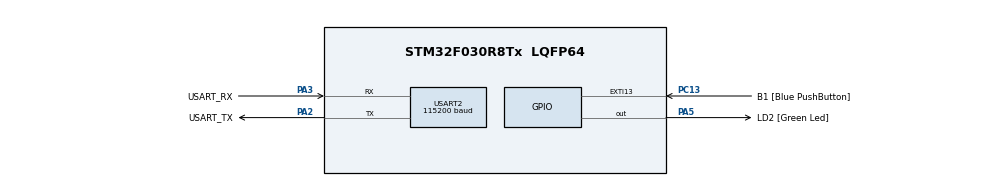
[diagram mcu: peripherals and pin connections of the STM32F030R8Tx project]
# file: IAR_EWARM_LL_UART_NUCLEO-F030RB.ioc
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Mcu.Family=STM32F0
Mcu.Name=STM32F030R8Tx
Mcu.Package=LQFP64
NVIC.USART2_IRQn=true\:0\:0\:false\:false\:true\:true\:true
PA13.GPIO_Label=TMS
PA13.Mode=Serial_Wire
PA13.Signal=SYS_SWDIO
PA14.GPIO_Label=TCK
PA14.Mode=Serial_Wire
PA14.Signal=SYS_SWCLK
PA2.GPIO_Label=USART_TX
PA2.GPIO_Mode=GPIO_MODE_AF_PP
PA2.GPIO_PuPd=GPIO_NOPULL
PA2.GPIO_Speed=GPIO_SPEED_FREQ_LOW
PA2.Mode=Asynchronous
PA2.Signal=USART2_TX
PA3.GPIO_Label=USART_RX
PA3.GPIO_Mode=GPIO_MODE_AF_PP
PA3.GPIO_PuPd=GPIO_NOPULL
PA3.GPIO_Speed=GPIO_SPEED_FREQ_LOW
PA3.Mode=Asynchronous
PA3.Signal=USART2_RX
PA5.GPIO_Label=LD2 [Green Led]
PA5.GPIO_Mode=GPIO_MODE_OUTPUT_PP
PA5.GPIO_PuPd=GPIO_NOPULL
PA5.GPIO_Speed=GPIO_SPEED_FREQ_LOW
PA5.Signal=GPIO_Output
PC13.GPIO_Label=B1 [Blue PushButton]
PC13.GPIO_ModeDefaultEXTI=GPIO_MODE_IT_FALLING
PC13.Signal=GPXTI13
PC14-OSC32_IN.Mode=LSE-External-Oscillator
PC14-OSC32_IN.Signal=RCC_OSC32_IN
PC15-OSC32_OUT.Mode=LSE-External-Oscillator
PC15-OSC32_OUT.Signal=RCC_OSC32_OUT
PF0-OSC_IN.Mode=HSE-External-Clock-Source
PF0-OSC_IN.Signal=RCC_OSC_IN
PF1-OSC_OUT.Signal=RCC_OSC_OUT
ProjectManager.HeapSize=0x200
ProjectManager.StackSize=0x400
ProjectManager.TargetToolchain=EWARM V8.32
RCC.AHBFreq_Value=48000000
RCC.APB1Freq_Value=48000000
RCC.APB1TimFreq_Value=48000000
RCC.HCLKFreq_Value=48000000
RCC.PLLMUL=RCC_PLL_MUL12
RCC.SYSCLKFreq_VALUE=48000000
RCC.SYSCLKSource=RCC_SYSCLKSOURCE_PLLCLK
USART2.BaudRate=115200
USART2.VirtualMode-Asynchronous=VM_ASYNC
board=NUCLEO-F030R8

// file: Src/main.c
/* USER CODE BEGIN Header */
/**
  ******************************************************************************
  * @file           : main.c
  * @brief          : Main program body
  ******************************************************************************
  * @attention
  *
  * <h2><center>&copy; Copyright (c) 2020 STMicroelectronics.
  * All rights reserved.</center></h2>
  *
  * This software component is licensed by ST under BSD 3-Clause license,
  * the "License"; You may not use this file except in compliance with the
  * License. You may obtain a copy of the License at:
  *                        opensource.org/licenses/BSD-3-Clause
  *
  ******************************************************************************
  */
/* USER CODE END Header */

#include "main.h"

/* USER CODE BEGIN Includes */
#include "trice.h"
/* USER CODE END Includes */

void SystemClock_Config(void);
static void MX_GPIO_Init(void);
static void MX_USART2_UART_Init(void);

int main(void)
{
  /* USER CODE BEGIN 1 */
#ifdef ENCRYPT
    InitXteaTable();
#endif
  /* USER CODE END 1 */

  /* MCU Configuration--------------------------------------------------------*/

  /* Reset of all peripherals, Initializes the Flash interface and the Systick. */

  LL_APB1_GRP2_EnableClock(LL_APB1_GRP2_PERIPH_SYSCFG);
  LL_APB1_GRP1_EnableClock(LL_APB1_GRP1_PERIPH_PWR);

  /* System interrupt init*/

  /* Configure the system clock */
  SystemClock_Config();

  /* USER CODE BEGIN SysInit */
    SysTick->CTRL |= SysTick_CTRL_TICKINT_Msk; // enable SysTick interrupt
  /* USER CODE END SysInit */

  /* Initialize all configured peripherals */
  MX_GPIO_Init();
  MX_USART2_UART_Init();
  /* USER CODE BEGIN 2 */
    LL_USART_EnableIT_RXNE(USART2); // enable UART2 interrupt
  /* USER CODE END 2 */

  /* Infinite loop */
  /* USER CODE BEGIN WHILE */
    TRICE16_1( Id(45373), "tim:timing      message, SysTick is %6d\n", SYSTICKVAL16 );
    TRICE0( Id(24517), "att:IAR_EWARM_LL_UART_NUCLEO-F030RB\n" );
    TRICE16_1( Id(45373), "tim:timing      message, SysTick is %6d\n", SYSTICKVAL16 );
    TRICE16_1( Id(45373), "tim:timing      message, SysTick is %6d\n", SYSTICKVAL16 );
    TRICE16_1( Id(45373), "tim:timing      message, SysTick is %6d\n", SYSTICKVAL16 );
    TRICE16_1( Id(45373), "tim:timing      message, SysTick is %6d\n", SYSTICKVAL16 );
    while (1)
    {
      //////////////////////////////////////////////////
      // demo trices
      //
      static uint32_t ms_1 = 0;
      if( ms >= ms_1 + 1000 ){ // every sec
          static int index = 0;
          triceCheckSet(index++%20);
          TRICE32_1( Id(29200), "time:ms = %d\n", ms );
          LL_GPIO_TogglePin(LD2_GPIO_Port, LD2_Pin);
          ms_1 = ms;
      }
      //
      //////////////////////////////////////////////////

      //////////////////////////////////////////////////
      // needed background activity
      //
        #ifdef LL_INTERFACE_NO_INTERRUPTS
        triceServe();
        #endif
      //
      //////////////////////////////////////////////////
    /* USER CODE END WHILE */

  }
}

void SystemClock_Config(void)
{
  LL_FLASH_SetLatency(LL_FLASH_LATENCY_1);

  if(LL_FLASH_GetLatency() != LL_FLASH_LATENCY_1)
  {
  Error_Handler();
  }
  LL_RCC_HSI_Enable();

   /* Wait till HSI is ready */
  while(LL_RCC_HSI_IsReady() != 1)
  {

  }
  LL_RCC_HSI_SetCalibTrimming(16);
  LL_RCC_PLL_ConfigDomain_SYS(LL_RCC_PLLSOURCE_HSI_DIV_2, LL_RCC_PLL_MUL_12);
  LL_RCC_PLL_Enable();

   /* Wait till PLL is ready */
  while(LL_RCC_PLL_IsReady() != 1)
  {

  }
  LL_RCC_SetAHBPrescaler(LL_RCC_SYSCLK_DIV_1);
  LL_RCC_SetAPB1Prescaler(LL_RCC_APB1_DIV_1);
  LL_RCC_SetSysClkSource(LL_RCC_SYS_CLKSOURCE_PLL);

   /* Wait till System clock is ready */
  while(LL_RCC_GetSysClkSource() != LL_RCC_SYS_CLKSOURCE_STATUS_PLL)
  {

  }
  LL_Init1msTick(48000000);
  LL_SetSystemCoreClock(48000000);
}

static void MX_USART2_UART_Init(void)
{

  LL_USART_InitTypeDef USART_InitStruct = {0};

  LL_GPIO_InitTypeDef GPIO_InitStruct = {0};

  /* Peripheral clock enable */
  LL_APB1_GRP1_EnableClock(LL_APB1_GRP1_PERIPH_USART2);

  LL_AHB1_GRP1_EnableClock(LL_AHB1_GRP1_PERIPH_GPIOA);
  /**USART2 GPIO Configuration
  PA2   ------> USART2_TX
  PA3   ------> USART2_RX
  */
  GPIO_InitStruct.Pin = USART_TX_Pin;
  GPIO_InitStruct.Mode = LL_GPIO_MODE_ALTERNATE;
  GPIO_InitStruct.Speed = LL_GPIO_SPEED_FREQ_LOW;
  GPIO_InitStruct.OutputType = LL_GPIO_OUTPUT_PUSHPULL;
  GPIO_InitStruct.Pull = LL_GPIO_PULL_NO;
  GPIO_InitStruct.Alternate = LL_GPIO_AF_1;
  LL_GPIO_Init(USART_TX_GPIO_Port, &GPIO_InitStruct);

  GPIO_InitStruct.Pin = USART_RX_Pin;
  GPIO_InitStruct.Mode = LL_GPIO_MODE_ALTERNATE;
  GPIO_InitStruct.Speed = LL_GPIO_SPEED_FREQ_LOW;
  GPIO_InitStruct.OutputType = LL_GPIO_OUTPUT_PUSHPULL;
  GPIO_InitStruct.Pull = LL_GPIO_PULL_NO;
  GPIO_InitStruct.Alternate = LL_GPIO_AF_1;
  LL_GPIO_Init(USART_RX_GPIO_Port, &GPIO_InitStruct);

  /* USART2 interrupt Init */
  NVIC_SetPriority(USART2_IRQn, 0);
  NVIC_EnableIRQ(USART2_IRQn);

  USART_InitStruct.BaudRate = 115200;
  USART_InitStruct.DataWidth = LL_USART_DATAWIDTH_8B;
  USART_InitStruct.StopBits = LL_USART_STOPBITS_1;
  USART_InitStruct.Parity = LL_USART_PARITY_NONE;
  USART_InitStruct.TransferDirection = LL_USART_DIRECTION_TX_RX;
  USART_InitStruct.HardwareFlowControl = LL_USART_HWCONTROL_NONE;
  USART_InitStruct.OverSampling = LL_USART_OVERSAMPLING_16;
  LL_USART_Init(USART2, &USART_InitStruct);
  LL_USART_DisableIT_CTS(USART2);
  LL_USART_ConfigAsyncMode(USART2);
  LL_USART_Enable(USART2);

}

static void MX_GPIO_Init(void)
{
  LL_EXTI_InitTypeDef EXTI_InitStruct = {0};
  LL_GPIO_InitTypeDef GPIO_InitStruct = {0};

  /* GPIO Ports Clock Enable */
  LL_AHB1_GRP1_EnableClock(LL_AHB1_GRP1_PERIPH_GPIOC);
  LL_AHB1_GRP1_EnableClock(LL_AHB1_GRP1_PERIPH_GPIOF);
  LL_AHB1_GRP1_EnableClock(LL_AHB1_GRP1_PERIPH_GPIOA);

  /**/
  LL_GPIO_ResetOutputPin(LD2_GPIO_Port, LD2_Pin);

  /**/
  LL_SYSCFG_SetEXTISource(LL_SYSCFG_EXTI_PORTC, LL_SYSCFG_EXTI_LINE13);

  /**/
  LL_GPIO_SetPinPull(B1_GPIO_Port, B1_Pin, LL_GPIO_PULL_NO);

  /**/
  LL_GPIO_SetPinMode(B1_GPIO_Port, B1_Pin, LL_GPIO_MODE_INPUT);

  /**/
  EXTI_InitStruct.Line_0_31 = LL_EXTI_LINE_13;
  EXTI_InitStruct.LineCommand = ENABLE;
  EXTI_InitStruct.Mode = LL_EXTI_MODE_IT;
  EXTI_InitStruct.Trigger = LL_EXTI_TRIGGER_FALLING;
  LL_EXTI_Init(&EXTI_InitStruct);

  /**/
  GPIO_InitStruct.Pin = LD2_Pin;
  GPIO_InitStruct.Mode = LL_GPIO_MODE_OUTPUT;
  GPIO_InitStruct.Speed = LL_GPIO_SPEED_FREQ_LOW;
  GPIO_InitStruct.OutputType = LL_GPIO_OUTPUT_PUSHPULL;
  GPIO_InitStruct.Pull = LL_GPIO_PULL_NO;
  LL_GPIO_Init(LD2_GPIO_Port, &GPIO_InitStruct);

}

void Error_Handler(void)
{
}

/************************ (C) COPYRIGHT STMicroelectronics *****END OF FILE****/
